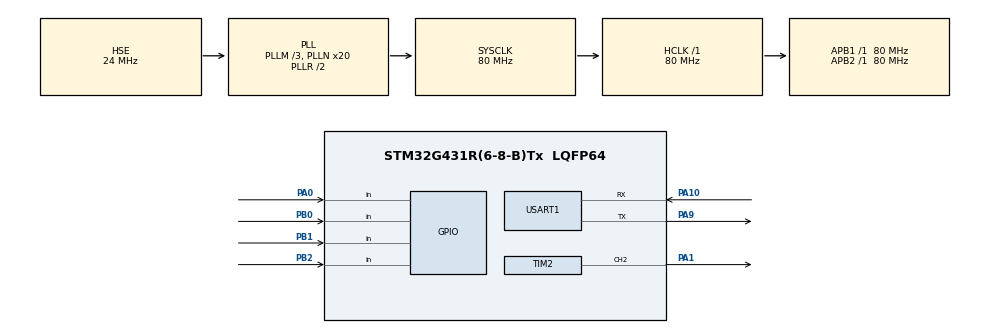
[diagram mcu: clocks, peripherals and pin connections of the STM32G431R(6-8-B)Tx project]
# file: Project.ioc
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Mcu.Family=STM32G4
Mcu.Name=STM32G431R(6-8-B)Tx
Mcu.Package=LQFP64
NVIC.PriorityGroup=NVIC_PRIORITYGROUP_4
NVIC.TIM2_IRQn=true\:0\:0\:false\:false\:true\:true\:true\:true
NVIC.TIM6_DAC_IRQn=true\:15\:0\:true\:false\:true\:true\:true\:true
NVIC.USART1_IRQn=true\:1\:0\:true\:false\:true\:true\:true\:true
PA0.GPIO_Mode=GPIO_MODE_INPUT
PA0.GPIO_PuPd=GPIO_PULLUP
PA0.Signal=GPIO_Input
PA1.Signal=S_TIM2_CH2
PA10.Mode=Asynchronous
PA10.Signal=USART1_RX
PA13.Mode=Serial_Wire
PA13.Signal=SYS_JTMS-SWDIO
PA14.Mode=Serial_Wire
PA14.Signal=SYS_JTCK-SWCLK
PA9.Mode=Asynchronous
PA9.Signal=USART1_TX
PB0.GPIO_Mode=GPIO_MODE_INPUT
PB0.GPIO_PuPd=GPIO_PULLUP
PB0.Signal=GPIO_Input
PB1.GPIO_Mode=GPIO_MODE_INPUT
PB1.GPIO_PuPd=GPIO_PULLUP
PB1.Signal=GPIO_Input
PB2.GPIO_Mode=GPIO_MODE_INPUT
PB2.GPIO_PuPd=GPIO_PULLUP
PB2.Signal=GPIO_Input
PF0-OSC_IN.Mode=HSE-External-Oscillator
PF0-OSC_IN.Signal=RCC_OSC_IN
PF1-OSC_OUT.Mode=HSE-External-Oscillator
PF1-OSC_OUT.Signal=RCC_OSC_OUT
ProjectManager.HeapSize=0x200
ProjectManager.StackSize=0x400
ProjectManager.TargetToolchain=MDK-ARM V5.32
RCC.ADC12Freq_Value=80000000
RCC.AHBFreq_Value=80000000
RCC.APB1Freq_Value=80000000
RCC.APB1TimFreq_Value=80000000
RCC.APB2Freq_Value=80000000
RCC.APB2TimFreq_Value=80000000
RCC.CortexFreq_Value=80000000
RCC.EXTERNAL_CLOCK_VALUE=12288000
RCC.HCLKFreq_Value=80000000
RCC.HSE_VALUE=24000000
RCC.HSI48_VALUE=48000000
RCC.HSI_VALUE=16000000
RCC.LSE_VALUE=32768
RCC.PLLM=RCC_PLLM_DIV3
RCC.PLLN=20
RCC.PLLSourceVirtual=RCC_PLLSOURCE_HSE
RCC.SYSCLKFreq_VALUE=80000000
RCC.SYSCLKSource=RCC_SYSCLKSOURCE_PLLCLK
RCC.USBFreq_Value=80000000
RCC.VCOOutputFreq_Value=160000000
SH.S_TIM2_CH2.0=TIM2_CH2,Output Compare2 CH2
TIM2.AutoReloadPreload=TIM_AUTORELOAD_PRELOAD_DISABLE
TIM2.Channel-Output\ Compare2\ CH2=TIM_CHANNEL_2
TIM2.PeriodNoDither=100-1
TIM2.Prescaler=800-1
TIM6.PeriodNoDither=10000-1
TIM6.Prescaler=800-1
USART1.VirtualMode-Asynchronous=VM_ASYNC
VP_SYS_VS_DBSignals.Mode=DisableDeadBatterySignals
VP_TIM2_VS_ClockSourceINT.Mode=Internal
VP_TIM6_VS_ClockSourceINT.Mode=Enable_Timer
board=custom

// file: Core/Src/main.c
/* USER CODE BEGIN Header */
/**
  ******************************************************************************
  * @file           : main.c
  * @brief          : Main program body
  ******************************************************************************
  * @attention
  *
  * Copyright (c) 2024 STMicroelectronics.
  * All rights reserved.
  *
  * This software is licensed under terms that can be found in the LICENSE file
  * in the root directory of this software component.
  * If no LICENSE file comes with this software, it is provided AS-IS.
  *
  ******************************************************************************
  */
/* USER CODE END Header */
#include "main.h"
#include "tim.h"
#include "usart.h"
#include "gpio.h"

/* USER CODE BEGIN Includes */
#include "led.h"
#include "lcd.h"
#include "delay.h"
#include "stdio.h"
#include "stdbool.h"
/* USER CODE END Includes */

/* USER CODE BEGIN PTD */
int mode=0,i1=0,i2=0,i3=0,wrong=0;
char text[30],secret[]={'@','0','1','2','3','4','5','6','7','8','9'};
typedef struct{
  char b1,b2,b3;
}secret_put;
secret_put out,ans;
/* USER CODE END PTD */

/* USER CODE BEGIN PD */
bool check(void){
  if((USART1_RECEIVE_ARRAY[0]>='0'&&USART1_RECEIVE_ARRAY[0]<='9')&&
     (USART1_RECEIVE_ARRAY[1]>='0'&&USART1_RECEIVE_ARRAY[1]<='9')&&
     (USART1_RECEIVE_ARRAY[2]>='0'&&USART1_RECEIVE_ARRAY[2]<='9')&&
     (USART1_RECEIVE_ARRAY[3]=='-')&&
     (USART1_RECEIVE_ARRAY[4]>='0'&&USART1_RECEIVE_ARRAY[4]<='9')&&
     (USART1_RECEIVE_ARRAY[5]>='0'&&USART1_RECEIVE_ARRAY[5]<='9')&&
     (USART1_RECEIVE_ARRAY[6]>='0'&&USART1_RECEIVE_ARRAY[6]<='9'))
      return true;
  return false;
}
/* USER CODE END PD */

/* USER CODE BEGIN PM */
void HAL_UART_RxCpltCallback(UART_HandleTypeDef *huart)
{
    if (huart->Instance == USART1)
    {
        if ((USART1_RECEIVE_STATE & 0x8000) == 0)
        {
            if (USART1_RECEIVE_STATE & 0x4000)
                if (USART1_RECEIVE_DATA[0] != 0x0a)
                    USART1_RECEIVE_STATE = 0;
                else
                    USART1_RECEIVE_STATE |= 0x8000;
            else
            {
                if (USART1_RECEIVE_DATA[0] == 0x0d)
                    USART1_RECEIVE_STATE |= 0x4000;
                else
                {
                    USART1_RECEIVE_ARRAY[USART1_RECEIVE_STATE & 0X3FFF] = USART1_RECEIVE_DATA[0];
                    USART1_RECEIVE_STATE++;
                    if (USART1_RECEIVE_STATE > (USART1_RECEIVE_LENGTH - 1))
                        USART1_RECEIVE_STATE = 0;
                }
            }
        }
    }
}
/* USER CODE END PM */

void SystemClock_Config(void);

int main(void)
{
  /* USER CODE BEGIN 1 */
  out.b1=secret[i1];
  out.b2=secret[i2];
  out.b3=secret[i3];

  ans.b1=secret[2];
  ans.b2=secret[3];
  ans.b3=secret[4];
  /* USER CODE END 1 */

  /* MCU Configuration--------------------------------------------------------*/

  /* Reset of all peripherals, Initializes the Flash interface and the Systick. */
  HAL_Init();

  /* Configure the system clock */
  SystemClock_Config();

  /* USER CODE BEGIN SysInit */
  delay_init(80);
  /* USER CODE END SysInit */

  /* Initialize all configured peripherals */
  MX_GPIO_Init();
  MX_TIM2_Init();
  MX_TIM6_Init();
  MX_USART1_UART_Init();
  /* USER CODE BEGIN 2 */
  led_init();
  LCD_Init();
  LCD_Clear(Black);
  LCD_SetBackColor(Black);
  LCD_SetTextColor(White);
  /* USER CODE END 2 */

  /* Infinite loop */
  /* USER CODE BEGIN WHILE */
  HAL_TIM_Base_Start_IT(&htim6);
  HAL_UART_Receive_IT(&huart1,&USART1_RECEIVE_DATA,USART1_RECEIVE_BUUFER_SIZE);
  HAL_TIM_PWM_Start_IT(&htim2,TIM_CHANNEL_2);
  while (1)
  {
    if(USART1_RECEIVE_STATE&0x8000){//接收上位机发来的字符串
      if(check()){
        ans.b1=USART1_RECEIVE_ARRAY[4];
        ans.b2=USART1_RECEIVE_ARRAY[5];
        ans.b3=USART1_RECEIVE_ARRAY[6];
        printf("%d%d%d\r\n",ans.b1,ans.b2,ans.b3);
      }else{
        printf("\r\nError\r\n");
      }
      USART1_RECEIVE_STATE=0;
    }
    if(HAL_GPIO_ReadPin(GPIOB,GPIO_PIN_0)==0){
      while(HAL_GPIO_ReadPin(GPIOB,GPIO_PIN_0)==0);
      if(mode==0){
        i1++;
        if(i1==11)i1=0;
        out.b1=secret[i1];
      }
    }else if(HAL_GPIO_ReadPin(GPIOB,GPIO_PIN_1)==0){
      while(HAL_GPIO_ReadPin(GPIOB,GPIO_PIN_1)==0);
      if(mode==0){
        i2++;
        if(i2==11)i2=0;
        out.b2=secret[i2];
      }
    }else if(HAL_GPIO_ReadPin(GPIOB,GPIO_PIN_2)==0){
      while(HAL_GPIO_ReadPin(GPIOB,GPIO_PIN_2)==0);
      if(mode==0){
        i3++;
        if(i3==11)i3=0;
        out.b3=secret[i3];
      }
    }else if(HAL_GPIO_ReadPin(GPIOA,GPIO_PIN_0)==0){
      while(HAL_GPIO_ReadPin(GPIOA,GPIO_PIN_0)==0);
      if(out.b1==ans.b1&&out.b2==ans.b2&&out.b3==ans.b3){
        mode=1;
        wrong=0;
        led_ON(1);
        __HAL_TIM_SET_AUTORELOAD(&htim2,50-1);
        __HAL_TIM_SET_COMPARE(&htim2,TIM_CHANNEL_2,5);
      }else{
        wrong++;
        i1=0;
        i2=0;
        i3=0;
        out.b1=secret[i1];
        out.b2=secret[i2];
        out.b3=secret[i3];
      }
    }
    /* USER CODE END WHILE */

  }
}

void SystemClock_Config(void)
{
  RCC_OscInitTypeDef RCC_OscInitStruct = {0};
  RCC_ClkInitTypeDef RCC_ClkInitStruct = {0};

  /** Configure the main internal regulator output voltage
  */
  HAL_PWREx_ControlVoltageScaling(PWR_REGULATOR_VOLTAGE_SCALE1);

  /** Initializes the RCC Oscillators according to the specified parameters
  * in the RCC_OscInitTypeDef structure.
  */
  RCC_OscInitStruct.OscillatorType = RCC_OSCILLATORTYPE_HSE;
  RCC_OscInitStruct.HSEState = RCC_HSE_ON;
  RCC_OscInitStruct.PLL.PLLState = RCC_PLL_ON;
  RCC_OscInitStruct.PLL.PLLSource = RCC_PLLSOURCE_HSE;
  RCC_OscInitStruct.PLL.PLLM = RCC_PLLM_DIV3;
  RCC_OscInitStruct.PLL.PLLN = 20;
  RCC_OscInitStruct.PLL.PLLP = RCC_PLLP_DIV2;
  RCC_OscInitStruct.PLL.PLLQ = RCC_PLLQ_DIV2;
  RCC_OscInitStruct.PLL.PLLR = RCC_PLLR_DIV2;
  if (HAL_RCC_OscConfig(&RCC_OscInitStruct) != HAL_OK)
  {
    Error_Handler();
  }

  /** Initializes the CPU, AHB and APB buses clocks
  */
  RCC_ClkInitStruct.ClockType = RCC_CLOCKTYPE_HCLK|RCC_CLOCKTYPE_SYSCLK
                              |RCC_CLOCKTYPE_PCLK1|RCC_CLOCKTYPE_PCLK2;
  RCC_ClkInitStruct.SYSCLKSource = RCC_SYSCLKSOURCE_PLLCLK;
  RCC_ClkInitStruct.AHBCLKDivider = RCC_SYSCLK_DIV1;
  RCC_ClkInitStruct.APB1CLKDivider = RCC_HCLK_DIV1;
  RCC_ClkInitStruct.APB2CLKDivider = RCC_HCLK_DIV1;

  if (HAL_RCC_ClockConfig(&RCC_ClkInitStruct, FLASH_LATENCY_2) != HAL_OK)
  {
    Error_Handler();
  }
}

/* USER CODE BEGIN 4 */
int counter=0,wrong_counter=0;

void HAL_TIM_PeriodElapsedCallback(TIM_HandleTypeDef *htim){
  if(htim->Instance==TIM6){
    if(mode==0){
      LCD_DisplayStringLine(Line2,(u8*)"       PSD    ");
      sprintf(text,"    B1:%c     ",out.b1);
      LCD_DisplayStringLine(Line4,(u8*)text);
      sprintf(text,"    B2:%c   ",out.b2);
      LCD_DisplayStringLine(Line5,(u8*)text);
      sprintf(text,"    B3:%c   ",out.b3);
      LCD_DisplayStringLine(Line6,(u8*)text);
    }else{
      LCD_DisplayStringLine(Line2,(u8*)"       STA    ");
      LCD_DisplayStringLine(Line4,(u8*)"    F:2000Hz   ");
      LCD_DisplayStringLine(Line5,(u8*)"    D:10%    ");
      LCD_DisplayStringLine(Line6,(u8*)"              ");
      counter++;
      if(counter==50){
        counter=0;
        led_OFF(1);
        __HAL_TIM_SET_AUTORELOAD(&htim2,100-1);
        __HAL_TIM_SET_COMPARE(&htim2,TIM_CHANNEL_2,5);
        mode=0;
        i1=0;
        i2=0;
        i3=0;
        out.b1=secret[i1];
        out.b2=secret[i2];
        out.b3=secret[i3];
      }
    }
    if(wrong>=3){
      led_Toggle(2);
      wrong_counter++;
      if(wrong_counter==50){
        wrong_counter=0;
        wrong=0;
      }
    }
  }
}
/* USER CODE END 4 */

void Error_Handler(void)
{
  __disable_irq();
  while (1)
  {
  }
}
